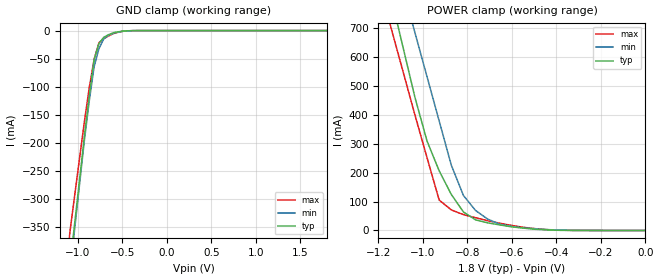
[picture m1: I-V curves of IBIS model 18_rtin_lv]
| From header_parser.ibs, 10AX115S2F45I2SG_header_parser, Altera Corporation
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|MODEL 18_rtin_lv
[Model]   18_rtin_lv
Model_type   Input
Polarity   Non-Inverting
Vinl   = 0.630
Vinh   = 1.170
C_comp 1.4pF   1.4pF   1.4pF
[Model Spec]
Vinh   1.170   1.053   1.287
Vinl   0.630   0.567   0.693
[Temperature Range]   25   100   -40
[Voltage Range]   1.800   1.656   1.890
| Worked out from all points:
|   GND clamp passes 1 mA (typ) near -0.50 V on its own axis
|   POWER clamp passes 1 mA (typ) near -0.40 V on its own axis
[GND Clamp]
| voltage   I (typ)   I (min)   I (max)
-1.8V     -1.573A    -1.567A    -1.567A
-1.091V   -420mA     -430.9mA   -359.1mA
-1.036V   -342.6mA   -352.3mA   -292.9mA
-927.3mV  -187.8mA   -194.9mA   -161.8mA
-872.7mV  -116.7mA   -125.2mA   -101.3mA
-818.2mV  -51.71mA   -64.23mA   -50.81mA
-763.6mV  -22.76mA   -32.12mA   -21.43mA
-709.1mV  -11.83mA   -14.42mA   -14.58mA
-600mV    -3.777mA   -4.499mA   -5.271mA
-490.9mV  -787.1uA   -1.229mA   -955.6uA
-381.8mV  -71.53uA   -186.4uA   -69.31uA
1.8V      0A         0A         0A
[Power Clamp]
| voltage   I (typ)   I (min)   I (max)
-1.8V     2.925A     3.049A     2.755A
-1.145V   812.2mA    989mA      704.9mA
-1.091V   636.2mA    836.3mA    552.1mA
-1.036V   460.2mA    683.5mA    399.4mA
-981.8mV  308.7mA    530.8mA    251.2mA
-927.3mV  206.1mA    378.1mA    105.1mA
-872.7mV  124.4mA    225.5mA    71.12mA
-818.2mV  63.81mA    120.7mA    54.62mA
-763.6mV  36.71mA    69.07mA    44.02mA
-654.5mV  19.09mA    21.67mA    25.01mA
-545.4mV  7.945mA    8.513mA    10.69mA
0V        0A         0A         0A
